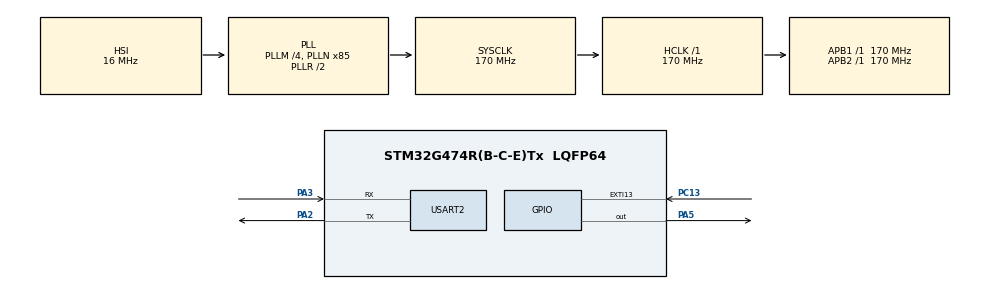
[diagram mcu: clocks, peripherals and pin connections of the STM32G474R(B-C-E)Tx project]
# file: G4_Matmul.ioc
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Mcu.Family=STM32G4
Mcu.Name=STM32G474R(B-C-E)Tx
Mcu.Package=LQFP64
NUCLEO-G474RE.BUTTON=1
NUCLEO-G474RE.LD2=true
NVIC.EXTI15_10_IRQn=true\:0\:0\:false\:false\:true\:true\:true\:true
NVIC.PriorityGroup=NVIC_PRIORITYGROUP_4
PA13.GPIO_Label=T_SWDIO
PA13.Signal=SYS_JTMS-SWDIO
PA14.GPIO_Label=T_SWCLK
PA14.Signal=SYS_JTCK-SWCLK
PA2.Mode=Asynchronous
PA2.Signal=USART2_TX
PA3.Mode=Asynchronous
PA3.Signal=USART2_RX
PA5.Signal=GPIO_Output
PB3.GPIO_Label=T_SWO
PB3.Signal=SYS_JTDO-SWO
PC13.Signal=GPXTI13
PC14-OSC32_IN.GPIO_Label=RCC_OSC32_IN
PC14-OSC32_IN.Signal=RCC_OSC32_IN
PC15-OSC32_OUT.GPIO_Label=RCC_OSC32_OUT
PC15-OSC32_OUT.Signal=RCC_OSC32_OUT
PF0-OSC_IN.GPIO_Label=RCC_OSC_IN
PF0-OSC_IN.Signal=RCC_OSC_IN
PF1-OSC_OUT.GPIO_Label=RCC_OSC_OUT
PF1-OSC_OUT.Signal=RCC_OSC_OUT
ProjectManager.HeapSize=0x200
ProjectManager.StackSize=0x400
ProjectManager.TargetToolchain=STM32CubeIDE
RCC.ADC12Freq_Value=170000000
RCC.ADC345Freq_Value=170000000
RCC.AHBFreq_Value=170000000
RCC.APB1Freq_Value=170000000
RCC.APB1TimFreq_Value=170000000
RCC.APB2Freq_Value=170000000
RCC.APB2TimFreq_Value=170000000
RCC.CortexFreq_Value=170000000
RCC.EXTERNAL_CLOCK_VALUE=12288000
RCC.HCLKFreq_Value=170000000
RCC.HSE_VALUE=24000000
RCC.HSI48_VALUE=48000000
RCC.HSI_VALUE=16000000
RCC.LSE_VALUE=32768
RCC.PLLM=RCC_PLLM_DIV4
RCC.PLLN=85
RCC.RTCClockSelection=RCC_RTCCLKSOURCE_LSE
RCC.SYSCLKFreq_VALUE=170000000
RCC.SYSCLKSource=RCC_SYSCLKSOURCE_PLLCLK
RCC.USBFreq_Value=170000000
RCC.VCOOutputFreq_Value=340000000
STMicroelectronics.X-CUBE-ALGOBUILD.1.4.0.LibraryCcDSPOoLibraryJjDSPOoLibrary=true
USART2.VirtualMode-Asynchronous=VM_ASYNC
VP_NUCLEO-G474RE_VS_BSP_COMMON.Mode=COMMON
VP_STMicroelectronics.X-CUBE-ALGOBUILD_VS_DSPOoLibraryJjLibrary_1.4.0_1.4.0.Mode=DSPOoLibraryJjLibrary
VP_SYS_VS_DBSignals.Mode=DisableDeadBatterySignals
board=NUCLEO-G474RE

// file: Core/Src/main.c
/* USER CODE BEGIN Header */
/**
  ******************************************************************************
  * @file           : main.c
  * @brief          : Main program body
  ******************************************************************************
  * @attention
  *
  * Copyright (c) 2025 STMicroelectronics.
  * All rights reserved.
  *
  * This software is licensed under terms that can be found in the LICENSE file
  * in the root directory of this software component.
  * If no LICENSE file comes with this software, it is provided AS-IS.
  *
  ******************************************************************************
  */
/* USER CODE END Header */
#include "main.h"

/* USER CODE BEGIN Includes */
#include "stdint.h"
#include "arm_math.h"
#include <stdio.h>
#include <stdlib.h>
/* USER CODE END Includes */

/* USER CODE BEGIN PD */
#define ROWS_A 2
#define COLS_A 2
#define COLS_B 2

#define R1 2 // number of rows in Matrix-1
#define C1 2 // number of columns in Matrix-1
#define R2 2 // number of rows in Matrix-2
#define C2 3 // number of columns in Matrix-2

/* USER CODE END PD */

UART_HandleTypeDef huart2;

void SystemClock_Config(void);
static void MX_GPIO_Init(void);
static void MX_USART2_UART_Init(void);
/* USER CODE BEGIN PFP */
#define PUTCHAR_PROTOTYPE int __io_putchar(int ch)
/* USER CODE END PFP */

/* USER CODE BEGIN 0 */
void multiplyMatrix(int m1[][C1], int m2[][C2]);
/* USER CODE END 0 */

int main(void)
{

  /* MCU Configuration--------------------------------------------------------*/

  /* Reset of all peripherals, Initializes the Flash interface and the Systick. */
  HAL_Init();

  /* Configure the system clock */
  SystemClock_Config();

  /* Initialize all configured peripherals */
  MX_GPIO_Init();
  MX_USART2_UART_Init();

  /* Initialize led */
  BSP_LED_Init(LED_GREEN);

  /* Initialize USER push-button, will be used to trigger an interrupt each time it's pressed.*/
  BSP_PB_Init(BUTTON_USER, BUTTON_MODE_EXTI);

  /* Infinite loop */
  /* USER CODE BEGIN WHILE */
  printf("UART is working!\r\n");

  // Enable DWT
  CoreDebug->DEMCR |= CoreDebug_DEMCR_TRCENA_Msk;

  while (1)
  {
	  // Input matrices in Q31 format
	    q31_t dataA[ROWS_A * COLS_A] = {
			0x40000000, 0x20000000,  // 0.5, 0.25
			0x10000000, 0x08000000   // 0.125, 0.0625
		};

		q31_t dataB[COLS_A * COLS_B] = {
			0x40000000, 0x20000000,  // 0.5, 0.25
			0x10000000, 0x08000000   // 0.125, 0.0625
		};

		// Output matrix
		q31_t dataOut[ROWS_A * COLS_B];

		// CMSIS matrix instances
		arm_matrix_instance_q31 matA;
		arm_matrix_instance_q31 matB;
		arm_matrix_instance_q31 matOut;

		// Initialize matrix instances
		arm_mat_init_q31(&matA, ROWS_A, COLS_A, dataA);
		arm_mat_init_q31(&matB, COLS_A, COLS_B, dataB);
		arm_mat_init_q31(&matOut, ROWS_A, COLS_B, dataOut);

		int m1[R1][C1] = { { 1, 1 }, { 2, 2 } };
		int m2[R2][C2] = { { 1, 1, 1 }, { 2, 2, 2 } };

		// if coloumn of m1 not equal to rows of m2
		if (C1 != R2) {
			printf("The number of columns in Matrix-1 must be "
				"equal to the number of rows in "
				"Matrix-2\n");

			exit(EXIT_FAILURE);
		}

		DWT->CYCCNT = 0;                    // Reset counter
		DWT->CTRL |= DWT_CTRL_CYCCNTENA_Msk;  // Enable cycle counter
		//printf("Hello World\n\r");
		multiplyMatrix(m1, m2);
		uint32_t cycles = DWT->CYCCNT;
		float time = ((float)cycles / SystemCoreClock) * 1000.0;//milli seconds
		printf("Time: %f msec, Cycles: %lu\r\n", time, cycles);
		HAL_Delay(500);

		DWT->CYCCNT = 0;
		//arm_status status = arm_mat_mult_q31(&matA, &matB, &matOut);
		arm_mat_mult_q31(&matA, &matB, &matOut);
		cycles = DWT->CYCCNT;
		time = ((float)cycles / SystemCoreClock) * 1000.0;//milli seconds
		printf("Time CMSIS: %f msec, Cycles: %lu\r\n", time, cycles);
		HAL_Delay(500);

    /* USER CODE END WHILE */

  }
}

void SystemClock_Config(void)
{
  RCC_OscInitTypeDef RCC_OscInitStruct = {0};
  RCC_ClkInitTypeDef RCC_ClkInitStruct = {0};

  /** Configure the main internal regulator output voltage
  */
  HAL_PWREx_ControlVoltageScaling(PWR_REGULATOR_VOLTAGE_SCALE1_BOOST);

  /** Initializes the RCC Oscillators according to the specified parameters
  * in the RCC_OscInitTypeDef structure.
  */
  RCC_OscInitStruct.OscillatorType = RCC_OSCILLATORTYPE_HSI;
  RCC_OscInitStruct.HSIState = RCC_HSI_ON;
  RCC_OscInitStruct.HSICalibrationValue = RCC_HSICALIBRATION_DEFAULT;
  RCC_OscInitStruct.PLL.PLLState = RCC_PLL_ON;
  RCC_OscInitStruct.PLL.PLLSource = RCC_PLLSOURCE_HSI;
  RCC_OscInitStruct.PLL.PLLM = RCC_PLLM_DIV4;
  RCC_OscInitStruct.PLL.PLLN = 85;
  RCC_OscInitStruct.PLL.PLLP = RCC_PLLP_DIV2;
  RCC_OscInitStruct.PLL.PLLQ = RCC_PLLQ_DIV2;
  RCC_OscInitStruct.PLL.PLLR = RCC_PLLR_DIV2;
  if (HAL_RCC_OscConfig(&RCC_OscInitStruct) != HAL_OK)
  {
    Error_Handler();
  }

  /** Initializes the CPU, AHB and APB buses clocks
  */
  RCC_ClkInitStruct.ClockType = RCC_CLOCKTYPE_HCLK|RCC_CLOCKTYPE_SYSCLK
                              |RCC_CLOCKTYPE_PCLK1|RCC_CLOCKTYPE_PCLK2;
  RCC_ClkInitStruct.SYSCLKSource = RCC_SYSCLKSOURCE_PLLCLK;
  RCC_ClkInitStruct.AHBCLKDivider = RCC_SYSCLK_DIV1;
  RCC_ClkInitStruct.APB1CLKDivider = RCC_HCLK_DIV1;
  RCC_ClkInitStruct.APB2CLKDivider = RCC_HCLK_DIV1;

  if (HAL_RCC_ClockConfig(&RCC_ClkInitStruct, FLASH_LATENCY_4) != HAL_OK)
  {
    Error_Handler();
  }
}

static void MX_USART2_UART_Init(void)
{

  huart2.Instance = USART2;
  huart2.Init.BaudRate = 115200;
  huart2.Init.WordLength = UART_WORDLENGTH_8B;
  huart2.Init.StopBits = UART_STOPBITS_1;
  huart2.Init.Parity = UART_PARITY_NONE;
  huart2.Init.Mode = UART_MODE_TX_RX;
  huart2.Init.HwFlowCtl = UART_HWCONTROL_NONE;
  huart2.Init.OverSampling = UART_OVERSAMPLING_16;
  huart2.Init.OneBitSampling = UART_ONE_BIT_SAMPLE_DISABLE;
  huart2.Init.ClockPrescaler = UART_PRESCALER_DIV1;
  huart2.AdvancedInit.AdvFeatureInit = UART_ADVFEATURE_NO_INIT;
  if (HAL_UART_Init(&huart2) != HAL_OK)
  {
    Error_Handler();
  }
  if (HAL_UARTEx_SetTxFifoThreshold(&huart2, UART_TXFIFO_THRESHOLD_1_8) != HAL_OK)
  {
    Error_Handler();
  }
  if (HAL_UARTEx_SetRxFifoThreshold(&huart2, UART_RXFIFO_THRESHOLD_1_8) != HAL_OK)
  {
    Error_Handler();
  }
  if (HAL_UARTEx_DisableFifoMode(&huart2) != HAL_OK)
  {
    Error_Handler();
  }

}

static void MX_GPIO_Init(void)
{

  /* GPIO Ports Clock Enable */
  __HAL_RCC_GPIOC_CLK_ENABLE();
  __HAL_RCC_GPIOF_CLK_ENABLE();
  __HAL_RCC_GPIOA_CLK_ENABLE();
  __HAL_RCC_GPIOB_CLK_ENABLE();

}

/* USER CODE BEGIN 4 */
/**
  * @brief  Retargets the C library printf function to the USART.
  *   None
  * @retval None
  */
PUTCHAR_PROTOTYPE
{
  /* Place your implementation of fputc here */
  /* e.g. write a character to the USART1 and Loop until the end of transmission */
  HAL_UART_Transmit(&huart2, (uint8_t *)&ch, 1, 0xFFFF);

  return ch;
}

void multiplyMatrix(int m1[][C1], int m2[][C2])
{
	int result[R1][C2];

	//printf("Resultant Matrix is:\n\r");

	for (int i = 0; i < R1; i++) {
		for (int j = 0; j < C2; j++) {
			result[i][j] = 0;

			for (int k = 0; k < R2; k++) {
				result[i][j] += m1[i][k] * m2[k][j];
			}
			//HAL_Delay(50);
			//printf("%d",result[i][j]);
		}

		//printf("\n\r");
	}
}

/* USER CODE END 4 */

void Error_Handler(void)
{
  __disable_irq();
  while (1)
  {
  }
}
